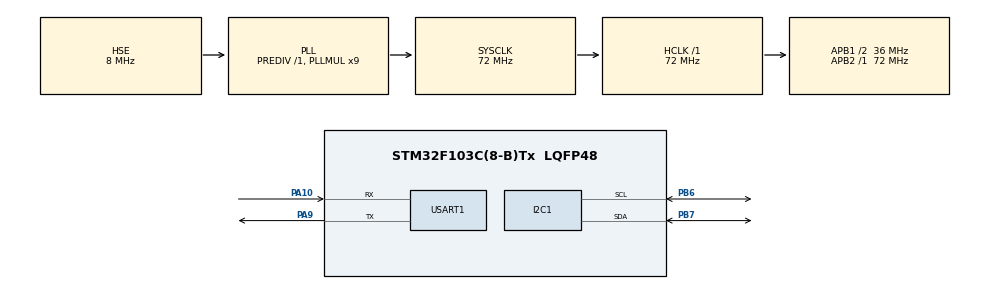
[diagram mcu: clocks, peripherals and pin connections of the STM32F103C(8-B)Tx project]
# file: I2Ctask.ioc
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I2C1.I2C_Mode=I2C_Standard
Mcu.Family=STM32F1
Mcu.Name=STM32F103C(8-B)Tx
Mcu.Package=LQFP48
NVIC.PriorityGroup=NVIC_PRIORITYGROUP_4
NVIC.USART1_IRQn=true\:0\:0\:false\:false\:true\:true\:true\:true
PA10.Mode=Asynchronous
PA10.Signal=USART1_RX
PA13.Mode=Serial_Wire
PA13.Signal=SYS_JTMS-SWDIO
PA14.Mode=Serial_Wire
PA14.Signal=SYS_JTCK-SWCLK
PA9.Mode=Asynchronous
PA9.Signal=USART1_TX
PB6.Mode=I2C
PB6.Signal=I2C1_SCL
PB7.Mode=I2C
PB7.Signal=I2C1_SDA
PC14-OSC32_IN.Mode=LSE-External-Oscillator
PC14-OSC32_IN.Signal=RCC_OSC32_IN
PC15-OSC32_OUT.Mode=LSE-External-Oscillator
PC15-OSC32_OUT.Signal=RCC_OSC32_OUT
PD0-OSC_IN.Mode=HSE-External-Oscillator
PD0-OSC_IN.Signal=RCC_OSC_IN
PD1-OSC_OUT.Mode=HSE-External-Oscillator
PD1-OSC_OUT.Signal=RCC_OSC_OUT
ProjectManager.HeapSize=0x200
ProjectManager.StackSize=0x400
ProjectManager.TargetToolchain=CMake
RCC.AHBFreq_Value=72000000
RCC.APB1CLKDivider=RCC_HCLK_DIV2
RCC.APB1Freq_Value=36000000
RCC.APB1TimFreq_Value=72000000
RCC.APB2Freq_Value=72000000
RCC.APB2TimFreq_Value=72000000
RCC.HCLKFreq_Value=72000000
RCC.PLLMUL=RCC_PLL_MUL9
RCC.PLLSourceVirtual=RCC_PLLSOURCE_HSE
RCC.SYSCLKFreq_VALUE=72000000
RCC.SYSCLKSource=RCC_SYSCLKSOURCE_PLLCLK
RCC.USBFreq_Value=72000000
USART1.VirtualMode=VM_ASYNC
board=custom

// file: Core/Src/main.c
/* USER CODE BEGIN Header */
/**
  ******************************************************************************
  * @file           : main.c
  * @brief          : Main program body
  ******************************************************************************
  * @attention
  *
  * Copyright (c) 2026 STMicroelectronics.
  * All rights reserved.
  *
  * This software is licensed under terms that can be found in the LICENSE file
  * in the root directory of this software component.
  * If no LICENSE file comes with this software, it is provided AS-IS.
  *
  ******************************************************************************
  */
/* USER CODE END Header */
#include "main.h"
#include "i2c.h"
#include "stm32f1xx_hal_def.h"
#include "stm32f1xx_hal_i2c.h"
#include "usart.h"
#include "gpio.h"

/* USER CODE BEGIN Includes */
#include <stdio.h>
#include <string.h>
#include "at24c02.h"
#include "i2c_bus.h"
/* USER CODE END Includes */

void SystemClock_Config(void);

/* USER CODE BEGIN 0 */
int __io_putchar(int ch)
{
    uint8_t data = (uint8_t)ch;

    HAL_UART_Transmit(&huart1, &data, 1, 100);

    return ch;
}
/* USER CODE END 0 */

int main(void)
{

  /* MCU Configuration--------------------------------------------------------*/

  /* Reset of all peripherals, Initializes the Flash interface and the Systick. */
  HAL_Init();

  /* Configure the system clock */
  SystemClock_Config();

  /* Initialize all configured peripherals */
  MX_GPIO_Init();
  MX_I2C1_Init();
  MX_USART1_UART_Init();
  /* USER CODE BEGIN 2 */
  I2C_Bus_Init();
volatile uint32_t idle_count = 0;

uint8_t read_buf[256];

uint32_t start = HAL_GetTick();

HAL_StatusTypeDef status =
    AT24C02_ReadBytes(0x00, read_buf, 256);

if (status == HAL_OK)
{
    while (HAL_GetTick() - start < 100)
    {
        idle_count++;
    }

    printf("Idle Count = %lu\r\n",
           (unsigned long)idle_count);
}
    /*软件通信验证*/
//   if (I2C_Bus_Init() != HAL_OK)
// {
//     printf("Soft I2C Init Failed\r\n");
// }
// else
// {
//     uint8_t data = 0;

//     HAL_StatusTypeDef status =
//         AT24C02_ReadBytes(0x10, &data, 1);

//     if (status == HAL_OK)
//     {
//         printf("Soft I2C Read OK\r\n");
//         printf("Data = 0x%02X\r\n", data);
//     }
//     else
//     {
//         printf("Soft I2C Read Failed: %d\r\n",
//                (int)status);
//     }
// }
  //硬件初步容错处理策略
  // uint8_t data = 0;

  // HAL_StatusTypeDef status;

  // status = AT24C02_ReadBytes(0x10, &data, 1);

  // if (status == HAL_OK)
  // {
  //     printf("Read OK: 0x%02X\r\n", data);
  // }
  // else
  // {
  //     // 保存本次错误信息
  //     uint32_t error = HAL_I2C_GetError(&hi2c1);

  //     // 读取物理总线电平
  //     uint8_t scl =
  //         HAL_GPIO_ReadPin(GPIOB, GPIO_PIN_6) == GPIO_PIN_SET;

  //     uint8_t sda =
  //         HAL_GPIO_ReadPin(GPIOB, GPIO_PIN_7) == GPIO_PIN_SET;

  //     // 读取外设 BUSY 标志
  //     uint8_t busy =
  //         __HAL_I2C_GET_FLAG(&hi2c1, I2C_FLAG_BUSY) == SET;

  //     printf("Status=%d Error=0x%08lX\r\n",
  //           (int)status, (unsigned long)error);

  //     printf("SCL=%u SDA=%u BUSY=%u\r\n",
  //           scl, sda, busy);

  //     if ((error & HAL_I2C_ERROR_AF) && scl && sda)
  //     {
  //         printf("NACK: Check device address\r\n");
  //     }
  //     else if (scl == 0)
  //     {
  //         printf("SCL held LOW: Recovery aborted\r\n");
  //     }
  //     else
  //     {
  //         HAL_StatusTypeDef result;

  //         if (sda == 0)
  //         {
  //             printf("SDA held LOW: Bus recovery\r\n");
  //             result = I2C_Bus_Recover();
  //         }
  //         else
  //         {
  //             printf("Lines HIGH: Reinit I2C\r\n");
  //             result = I2C_Bus_Reinit();
  //         }

  //         if (result == HAL_OK)
  //         {
  //             status = AT24C02_ReadBytes(0x10, &data, 1);

  //             if (status == HAL_OK)
  //                 printf("Recovery PASS: 0x%02X\r\n", data);
  //             else
  //                 printf("Recovery read failed\r\n");
  //         }
  //         else
  //         {
  //             printf("Recovery procedure failed\r\n");
  //         }
  //     }
  // }
  //SDA 断线测试
  // uint8_t data = 0;

  // HAL_StatusTypeDef status =
  //     AT24C02_ReadBytes(0x10, &data, 1);

  // // 立即记录本次通信的错误信息
  // uint32_t error = HAL_I2C_GetError(&hi2c1);

  // printf("Status = %d\r\n", (int)status);
  // printf("Error = 0x%08lX\r\n", (unsigned long)error);

  // if (status == HAL_OK)
  // {
  //     printf("Read OK: 0x%02X\r\n", data);
  // }
  // else
  // {
  //     printf("Read Failed\r\n");

  //     if (error & HAL_I2C_ERROR_AF)
  //         printf("NACK detected\r\n");

  //     if (status == HAL_TIMEOUT ||
  //         (error & HAL_I2C_ERROR_TIMEOUT))
  //         printf("Timeout detected\r\n");
  // }
  // // 第一步：主动调用总线恢复函数
  // status = I2C_Bus_Recover();
  // if (status == HAL_OK)
  // {
  //     printf("I2C Recover OK\r\n");
  // }
  // else
  // {
  //     printf("I2C Recover Failed\r\n");
  // }

  // // 第二步：再次从AT24C02读取数据
  // status = AT24C02_ReadBytes(0x10, &data, 1);

  // // 第三步：检查读取是否成功
  // if (status == HAL_OK)
  // {
  //     printf("Read OK: 0x%02X\r\n", data);
  // }
  // else
  // {
  //     printf("Read Failed\r\n");
  // }
  //I2C 总线挂死与自动恢复
  // uint8_t data = 0;

  // // 1. 故意读取错误设备地址
  // HAL_StatusTypeDef status;

  // status = AT24C02_ReadBytes(0x10, &data, 1);

  // // 立即保存错误信息
  // uint32_t error = HAL_I2C_GetError(&hi2c1);

  // printf("Status = %d\r\n", (int)status);
  // printf("Error = 0x%08lX\r\n", (unsigned long)error);

  // // 2. 判断故障类型
  // if (error & HAL_I2C_ERROR_AF)
  // {
  //     printf("NACK detected\r\n");
  // }

  // if (error & HAL_I2C_ERROR_BERR)
  // {
  //     printf("Bus error detected\r\n");
  // }

  // if (error & HAL_I2C_ERROR_ARLO)
  // {
  //     printf("Arbitration lost\r\n");
  // }

  // if (status == HAL_TIMEOUT ||
  //     (error & HAL_I2C_ERROR_TIMEOUT))
  // {
  //     printf("Timeout detected\r\n");
  // }

  // // 3. 读取真实设备
  // status = AT24C02_ReadBytes(0x10, &data, 1);

  // if (status == HAL_OK)
  // {
  //     printf("Communication restored\r\n");
  //     printf("Data = 0x%02X\r\n", data);
  // }
  // else
  // {
  //     printf("Communication still failed\r\n");
  // }
   //模拟一次 I2C 通信异常
//   uint8_t data = 0;
//   HAL_StatusTypeDef status;

//   status = AT24C02_ReadBytes(0x10, &data, 1);
//   if (status == HAL_OK)
// {
//     printf("Read OK: 0x%02X\r\n", data);
// }
// else
// {
//     uint32_t error = HAL_I2C_GetError(&hi2c1);

//     printf("Read Failed!\r\n");
//     printf("HAL Status: %d\r\n", (int)status);
//     printf("I2C Error: 0x%08lX\r\n",
//            (unsigned long)error);

//     if (error & HAL_I2C_ERROR_AF)/*判断error 里是否包含 AF（应答失败）这个错误位*/
//     {
//         printf("No ACK received!\r\n");
//     }

//     if (error & HAL_I2C_ERROR_BERR)
//     {
//         printf("Bus Error!\r\n");
//     }

//     if (error & HAL_I2C_ERROR_ARLO)
//     {
//         printf("Arbitration Lost!\r\n");
//     }
// }
  //测试跨页写入及连续读取
  // static uint8_t write_buf[256];
  // static uint8_t read_buf[256];
  // //这里使用 static，让数组使用静态存储空间，避免两个较大的数组占用函数调用栈
  // HAL_StatusTypeDef status;
  // uint16_t errors = 0;

  // for (int i = 0; i < 256; i++)
  // {
  //   write_buf[i] = i;
  //   read_buf[i] = 0;
  // }

  // status = AT24C02_WriteBytes(0x00, write_buf, 256);

  // if (status==HAL_OK)
  // {
  //   status = AT24C02_ReadBytes(0x00, read_buf, 256);//现在 main.c 不再直接调用 HAL 的 EEPROM 读写函数
  //   if (status==HAL_OK)
  //   {
  //     printf("Read 256 bytes OK\r\n");
  //     for(int i=0; i<256 ;i++)
  //     {

  //       if (write_buf[i] != read_buf[i])
  //       {
  //         errors++;
  //         printf("Error at 0x%02X\r\n", i);
  //       }

  //     }

  //     if (errors == 0)
  //         printf("Full EEPROM Test PASS!\r\n");
  //     else
  //         printf("Full EEPROM Test FAIL: %u errors\r\n",  (unsigned int)errors);

  //   }
  // }
  // else
  // {
  //   printf("Write Error\r\n");
  // }

  // uint8_t write_data = 0x55;单字节上传测试

  // uint8_t read_data = 0;

  // HAL_StatusTypeDef status;

  // status = HAL_I2C_Mem_Write(
  //   &hi2c1,                     // 1. I2C 句柄
  //   0x50 << 1,                  // 2. 设备地址 (DevAddress)
  //   0x10,                       // 3. 内部存储地址 (MemAddress)
  //   I2C_MEMADD_SIZE_8BIT,       // 4. 内部地址大小 (MemAddSize)
  //   &write_data,                // 5. 数据源指针 (pData)
  //   1,                          // 6. 数据长度 (Size)
  //   100                         // 7. 超时时间 (Timeout)
  // );

  // if (status == HAL_OK)
  // {
  //   HAL_Delay(10); // Wait for the write operation to complete
  //   status = HAL_I2C_Mem_Read(&hi2c1, 0x50<<1, 0x10, I2C_MEMADD_SIZE_8BIT, &read_data, 1, 100);
  //   if (status == HAL_OK)
  //   {
  //     char text[50];
  //     sprintf(text, "Write: 0x%02X\r\n", write_data);
  //     HAL_UART_Transmit(&huart1, (uint8_t *)text, strlen(text), 100);
  //     sprintf(text, "Read: 0x%02X\r\n", read_data);
  //     HAL_UART_Transmit(&huart1, (uint8_t *)text, strlen(text), 100);
  //     if (read_data == write_data)
  //     {
  //       HAL_UART_Transmit(&huart1, (uint8_t *)"Data matches!\r\n", 15, 100);
  //     }
  //     else
  //     {
  //       HAL_UART_Transmit(&huart1, (uint8_t *)"Data does not match!\r\n", 23, 100);
  //     }
  //   }
  //   else
  //   {
  //     HAL_UART_Transmit(&huart1, (uint8_t *)"Read operation failed\r\n", 24, 100);
  //   }
  // }
  // else
  // {
  //   HAL_UART_Transmit(&huart1, (uint8_t *)"Write operation failed\r\n", 25, 100);
  // }
  /* USER CODE END 2 */

  /* Infinite loop */
  while (1)
  {

    /* USER CODE BEGIN 3 */

    // status = HAL_I2C_IsDeviceReady(&hi2c1, 0x50<<1, 3, 100);
    // if (status == HAL_OK)
    // {
    //   HAL_UART_Transmit(&huart1, (uint8_t *)"Device is ready\r\n", 17, 100);
    // }
    // else
    // {
    //   HAL_UART_Transmit(&huart1, (uint8_t *)"Device is not ready\r\n", 21, 100);
    // }
  }
  /* USER CODE END 3 */
}

void SystemClock_Config(void)
{
  RCC_OscInitTypeDef RCC_OscInitStruct = {0};
  RCC_ClkInitTypeDef RCC_ClkInitStruct = {0};

  /** Initializes the RCC Oscillators according to the specified parameters
  * in the RCC_OscInitTypeDef structure.
  */
  RCC_OscInitStruct.OscillatorType = RCC_OSCILLATORTYPE_HSE;
  RCC_OscInitStruct.HSEState = RCC_HSE_ON;
  RCC_OscInitStruct.HSEPredivValue = RCC_HSE_PREDIV_DIV1;
  RCC_OscInitStruct.HSIState = RCC_HSI_ON;
  RCC_OscInitStruct.PLL.PLLState = RCC_PLL_ON;
  RCC_OscInitStruct.PLL.PLLSource = RCC_PLLSOURCE_HSE;
  RCC_OscInitStruct.PLL.PLLMUL = RCC_PLL_MUL9;
  if (HAL_RCC_OscConfig(&RCC_OscInitStruct) != HAL_OK)
  {
    Error_Handler();
  }

  /** Initializes the CPU, AHB and APB buses clocks
  */
  RCC_ClkInitStruct.ClockType = RCC_CLOCKTYPE_HCLK|RCC_CLOCKTYPE_SYSCLK
                              |RCC_CLOCKTYPE_PCLK1|RCC_CLOCKTYPE_PCLK2;
  RCC_ClkInitStruct.SYSCLKSource = RCC_SYSCLKSOURCE_PLLCLK;
  RCC_ClkInitStruct.AHBCLKDivider = RCC_SYSCLK_DIV1;
  RCC_ClkInitStruct.APB1CLKDivider = RCC_HCLK_DIV2;
  RCC_ClkInitStruct.APB2CLKDivider = RCC_HCLK_DIV1;

  if (HAL_RCC_ClockConfig(&RCC_ClkInitStruct, FLASH_LATENCY_2) != HAL_OK)
  {
    Error_Handler();
  }
}

void Error_Handler(void)
{
  __disable_irq();
  while (1)
  {
  }
}
